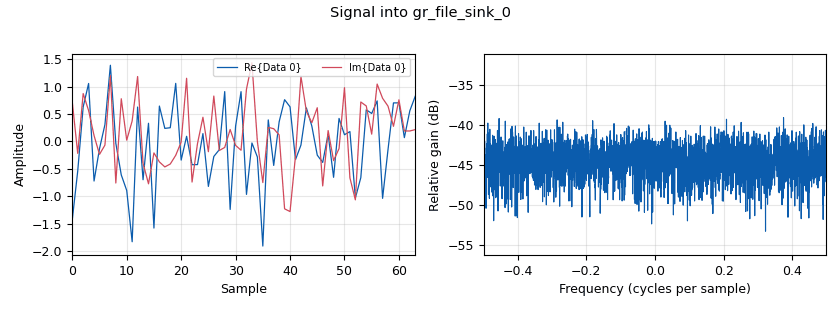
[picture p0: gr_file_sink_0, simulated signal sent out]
<?xml version='1.0' encoding='utf-8'?>
<flow_graph>
<block>
<key>options</key>
<param><key>id</key><value>top_block</value></param>
<param><key>generate_options</key><value>wx_gui</value></param>
<param><key>category</key><value>Custom</value></param>
</block>
<block>
<key>variable</key>
<param><key>id</key><value>samp_rate</value></param>
<param><key>value</key><value>32000</value></param>
</block>
<block>
<key>gr_noise_source_x</key>
<param><key>id</key><value>gr_noise_source_x_0</value></param>
<param><key>type</key><value>complex</value></param>
<param><key>noise_type</key><value>gr.GR_GAUSSIAN</value></param>
<param><key>amp</key><value>1</value></param>
<param><key>seed</key><value>42</value></param>
</block>
<block>
<key>gr_file_sink</key>
<param><key>id</key><value>gr_file_sink_0</value></param>
<param><key>file</key><value>noise_source1</value></param>
<param><key>type</key><value>complex</value></param>
<param><key>vlen</key><value>1</value></param>
<param><key>unbuffered</key><value>False</value></param>
</block>
<connection><source_block_id>gr_noise_source_x_0</source_block_id><sink_block_id>gr_file_sink_0</sink_block_id><source_key>0</source_key><sink_key>0</sink_key></connection>
</flow_graph>
